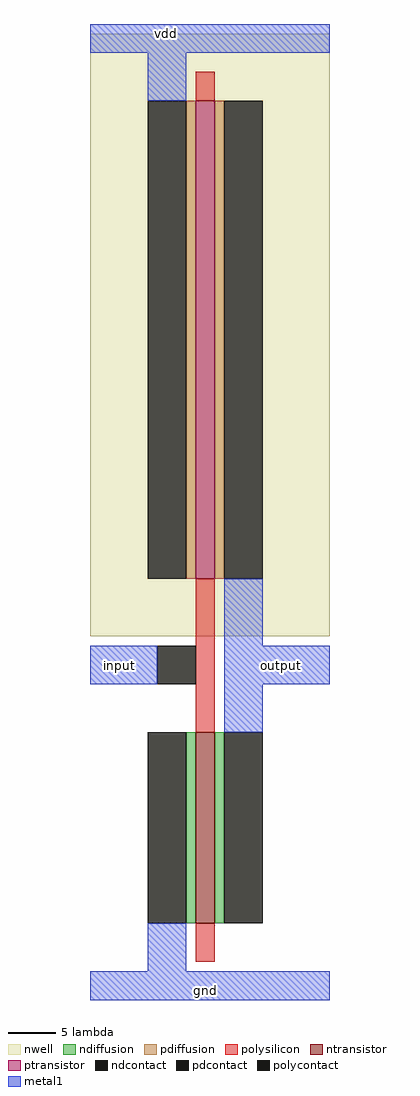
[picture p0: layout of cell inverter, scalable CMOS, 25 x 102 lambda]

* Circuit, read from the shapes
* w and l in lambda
.subckt inverter gnd input output vdd
M1 output input gnd VSUBS nfet w=20 l=2
M2 output input vdd n1 pfet w=50 l=2
.ends

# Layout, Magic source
magic
tech scmos
<< nwell >>
rect -9 0 16 63
<< ntransistor >>
rect 2 -30 4 -10
<< ptransistor >>
rect 2 6 4 56
<< ndiffusion >>
rect 1 -30 2 -10
rect 4 -30 5 -10
<< pdiffusion >>
rect 1 6 2 56
rect 4 6 5 56
<< ndcontact >>
rect -3 -30 1 -10
rect 5 -30 9 -10
<< pdcontact >>
rect -3 6 1 56
rect 5 6 9 56
<< polysilicon >>
rect 2 56 4 59
rect 2 -10 4 6
rect 2 -34 4 -30
<< polycontact >>
rect -2 -5 2 -1
<< metal1 >>
rect -9 61 16 64
rect -3 56 1 61
rect 5 -1 9 6
rect -9 -5 -2 -1
rect 5 -5 16 -1
rect 5 -10 9 -5
rect -3 -35 1 -30
rect -9 -38 16 -35
<< labels >>
rlabel metal1 3 -37 3 -37 1 gnd
rlabel metal1 -6 -3 -6 -3 3 input
rlabel metal1 11 -3 11 -3 7 output
rlabel metal1 -1 63 -1 63 5 vdd
<< end >>
